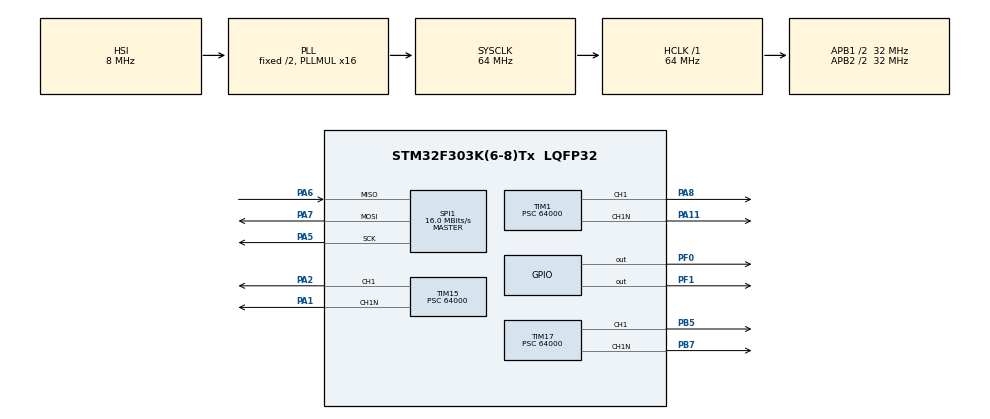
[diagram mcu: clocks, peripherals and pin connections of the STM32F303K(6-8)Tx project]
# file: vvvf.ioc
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Mcu.Family=STM32F3
PA6.Mode=Full_Duplex_Master
TIM17.Prescaler=64000
RCC.CortexFreq_Value=64000000
VP_TIM17_VS_ClockSourceINT.Mode=Enable_Timer
PA7.Mode=Full_Duplex_Master
SPI1.VirtualType=VM_MASTER
TIM17.Pulse=5000
TIM1.Pulse-PWM\ Generation1\ CH1\ CH1N=5000
RCC.SYSCLKSourceVirtual=RCC_SYSCLKSOURCE_PLLCLK
PA11.Mode=PWM Generation1 CH1 CH1N
TIM1.Channel-PWM\ Generation1\ CH1\ CH1N=TIM_CHANNEL_1
TIM15.DeadTime=13
RCC.APB1CLKDivider=RCC_HCLK_DIV2
ProjectManager.StackSize=0x400
TIM1.Prescaler=64000
SH.S_TIM1_CH1.0=TIM1_CH1,PWM Generation1 CH1 CH1N
ProjectManager.TargetToolchain=Makefile
TIM15.Prescaler=64000
SPI1.Direction=SPI_DIRECTION_2LINES
RCC.HCLKFreq_Value=64000000
RCC.APB2TimFreq_Value=64000000
SPI1.CalculateBaudRate=16.0 MBits/s
PF1\ /\ OSC_OUT.Signal=GPIO_Output
PA1.Signal=TIM15_CH1N
RCC.AHBFreq_Value=64000000
PA5.Signal=SPI1_SCK
RCC.HSE_VALUE=8000000
board=custom
TIM1.LockLevel=TIM_LOCKLEVEL_OFF
TIM17.Channel=TIM_CHANNEL_1
SH.S_TIM15_CH1.0=TIM15_CH1,PWM Generation1 CH1 CH1N
RCC.PLLMUL=RCC_PLL_MUL16
TIM15.Period=10000
TIM17.Period=10000
RCC.APB2Freq_Value=32000000
PA1.Mode=PWM Generation1 CH1 CH1N
TIM15.Pulse-PWM\ Generation1\ CH1\ CH1N=5000
PF0\ /\ OSC_IN.Signal=GPIO_Output
SPI1.Mode=SPI_MODE_MASTER
TIM1.DeadTime=13
PB7.Signal=TIM17_CH1N
PA8.Signal=S_TIM1_CH1
Mcu.Name=STM32F303K(6-8)Tx
PA2.Signal=S_TIM15_CH1
RCC.SYSCLKFreq_VALUE=64000000
Mcu.Package=LQFP32
PB5.Signal=S_TIM17_CH1
PA6.Signal=SPI1_MISO
PB7.Mode=PWM Generation1 CH1 CH1N
PA11.Signal=TIM1_CH1N
ProjectManager.HeapSize=0x200
RCC.HSI_VALUE=8000000
SH.S_TIM17_CH1.0=TIM17_CH1,PWM Generation1 CH1 CH1N
NVIC.PriorityGroup=NVIC_PRIORITYGROUP_4
RCC.APB2CLKDivider=RCC_HCLK_DIV2
RCC.APB1TimFreq_Value=64000000
TIM1.Period=10000
RCC.APB1Freq_Value=32000000
TIM15.Channel-PWM\ Generation1\ CH1\ CH1N=TIM_CHANNEL_1
PA5.Mode=Full_Duplex_Master
PA7.Signal=SPI1_MOSI
TIM17.DeadTime=13

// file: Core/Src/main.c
/* USER CODE BEGIN Header */
/**
  ******************************************************************************
  * @file           : main.c
  * @brief          : Main program body
  ******************************************************************************
  * @attention
  *
  * <h2><center>&copy; Copyright (c) 2021 STMicroelectronics.
  * All rights reserved.</center></h2>
  *
  * This software component is licensed by ST under BSD 3-Clause license,
  * the "License"; You may not use this file except in compliance with the
  * License. You may obtain a copy of the License at:
  *                        opensource.org/licenses/BSD-3-Clause
  *
  ******************************************************************************
  */
/* USER CODE END Header */
#include <stdbool.h>
#include "main.h"

#define GREEN_LED GPIO_PIN_0
#define RED_LED GPIO_PIN_1

SPI_HandleTypeDef hspi1;

TIM_HandleTypeDef htim1;
TIM_HandleTypeDef htim15;
TIM_HandleTypeDef htim17;

/* USER CODE BEGIN PV */
float hz_to_step(float fHz)
{
  return 64.0f * 1000.0f * 1000.0f / fHz / 2.0f;
}
/* USER CODE END PV */

void SystemClock_Config(void);
static void MX_GPIO_Init(void);
static void MX_TIM1_Init(void);
static void MX_TIM15_Init(void);
static void MX_TIM17_Init(void);
static void MX_SPI1_Init(void);

/* USER CODE BEGIN 0 */
// PWM設定のいろんな関数
void user_pwm_tim1(uint32_t prescale, uint32_t period, uint32_t pulse)
{
  htim1.Instance = TIM1;
  htim1.Init.Prescaler = prescale - 1;
  htim1.Init.CounterMode = TIM_COUNTERMODE_UP;
  htim1.Init.Period = period;
  htim1.Init.ClockDivision = TIM_CLOCKDIVISION_DIV1;
  htim1.Init.RepetitionCounter = 0;
  htim1.Init.AutoReloadPreload = TIM_AUTORELOAD_PRELOAD_DISABLE;
  HAL_TIM_PWM_Init(&htim1);

  TIM_OC_InitTypeDef sConfigOC = {0};
  sConfigOC.OCMode = TIM_OCMODE_PWM1;
  sConfigOC.Pulse = pulse;
  sConfigOC.OCPolarity = TIM_OCPOLARITY_HIGH;
  sConfigOC.OCNPolarity = TIM_OCNPOLARITY_HIGH;
  sConfigOC.OCFastMode = TIM_OCFAST_DISABLE;
  sConfigOC.OCIdleState = TIM_OCIDLESTATE_RESET;
  sConfigOC.OCNIdleState = TIM_OCNIDLESTATE_RESET;
  HAL_TIM_PWM_ConfigChannel(&htim1, &sConfigOC, TIM_CHANNEL_1);
}

void user_pwm_tim15(uint32_t prescale, uint32_t period, uint32_t pulse)
{
  htim15.Instance = TIM15;
  htim15.Init.Prescaler = prescale - 1;
  htim15.Init.CounterMode = TIM_COUNTERMODE_UP;
  htim15.Init.Period = period;
  htim15.Init.ClockDivision = TIM_CLOCKDIVISION_DIV1;
  htim15.Init.RepetitionCounter = 0;
  htim15.Init.AutoReloadPreload = TIM_AUTORELOAD_PRELOAD_DISABLE;
  HAL_TIM_PWM_Init(&htim15);

  TIM_OC_InitTypeDef sConfigOC = {0};
  sConfigOC.OCMode = TIM_OCMODE_PWM1;
  sConfigOC.Pulse = pulse;
  sConfigOC.OCPolarity = TIM_OCPOLARITY_HIGH;
  sConfigOC.OCNPolarity = TIM_OCNPOLARITY_HIGH;
  sConfigOC.OCFastMode = TIM_OCFAST_DISABLE;
  sConfigOC.OCIdleState = TIM_OCIDLESTATE_RESET;
  sConfigOC.OCNIdleState = TIM_OCNIDLESTATE_RESET;
  HAL_TIM_PWM_ConfigChannel(&htim15, &sConfigOC, TIM_CHANNEL_1);
}

void user_pwm_tim17(uint32_t prescale, uint32_t period, uint32_t pulse)
{
  htim17.Instance = TIM17;
  htim17.Init.Prescaler = prescale - 1;
  htim17.Init.CounterMode = TIM_COUNTERMODE_UP;
  htim17.Init.Period = period;
  htim17.Init.ClockDivision = TIM_CLOCKDIVISION_DIV1;
  htim17.Init.RepetitionCounter = 0;
  htim17.Init.AutoReloadPreload = TIM_AUTORELOAD_PRELOAD_DISABLE;
  HAL_TIM_PWM_Init(&htim17);

  TIM_OC_InitTypeDef sConfigOC = {0};
  sConfigOC.OCMode = TIM_OCMODE_PWM1;
  sConfigOC.Pulse = pulse;
  sConfigOC.OCPolarity = TIM_OCPOLARITY_HIGH;
  sConfigOC.OCNPolarity = TIM_OCNPOLARITY_HIGH;
  sConfigOC.OCFastMode = TIM_OCFAST_DISABLE;
  sConfigOC.OCIdleState = TIM_OCIDLESTATE_RESET;
  sConfigOC.OCNIdleState = TIM_OCNIDLESTATE_RESET;
  HAL_TIM_PWM_ConfigChannel(&htim17, &sConfigOC, TIM_CHANNEL_1);
}

void start_tim()
{
  HAL_TIM_Base_Start(&htim1);
  HAL_TIM_Base_Start(&htim15);
  HAL_TIM_Base_Start(&htim17);
}

void stop_tim()
{
  HAL_TIM_Base_Stop(&htim1);
  HAL_TIM_Base_Stop(&htim15);
  HAL_TIM_Base_Stop(&htim17);
}

void valid_pwm(bool is_valid)
{
  if(is_valid){
    HAL_TIM_PWM_Start(&htim1, TIM_CHANNEL_1);
    HAL_TIMEx_PWMN_Start(&htim1, TIM_CHANNEL_1);

    HAL_TIM_PWM_Start(&htim15, TIM_CHANNEL_1);
    HAL_TIMEx_PWMN_Start(&htim15, TIM_CHANNEL_1);

    HAL_TIM_PWM_Start(&htim17, TIM_CHANNEL_1);
    HAL_TIMEx_PWMN_Start(&htim17, TIM_CHANNEL_1);
  }else{
    HAL_TIM_PWM_Stop(&htim1, TIM_CHANNEL_1);
    HAL_TIMEx_PWMN_Stop(&htim1, TIM_CHANNEL_1);

    HAL_TIM_PWM_Stop(&htim15, TIM_CHANNEL_1);
    HAL_TIMEx_PWMN_Stop(&htim15, TIM_CHANNEL_1);

    HAL_TIM_PWM_Stop(&htim17, TIM_CHANNEL_1);
    HAL_TIMEx_PWMN_Stop(&htim17, TIM_CHANNEL_1);
  }
}

/* USER CODE END 0 */

int main(void)
{

  /* MCU Configuration--------------------------------------------------------*/

  /* Reset of all peripherals, Initializes the Flash interface and the Systick. */
  HAL_Init();

  /* Configure the system clock */
  SystemClock_Config();

  /* Initialize all configured peripherals */
  MX_GPIO_Init();
  MX_TIM1_Init();
  MX_TIM15_Init();
  MX_TIM17_Init();
  MX_SPI1_Init();
  /* USER CODE BEGIN 2 */
  // ペリフェラル周りの諸々はここに書く
  // TIM1のPWMを走らせる

  /* USER CODE END 2 */

  /* Infinite loop */
  /* USER CODE BEGIN WHILE */

  // timの設定
  stop_tim();
  const float f_kHz = 300.0f;
  float step_to_prescale = hz_to_step(2.0f*f_kHz*1000.0f);
  uint32_t my_prescale = (uint32_t)(step_to_prescale + 0.5f);

  uint32_t T = 1;
  user_pwm_tim1(my_prescale, 2*T, T);
  user_pwm_tim17(my_prescale, 2*T, T);
  __HAL_TIM_SET_COUNTER(&htim1, 0);
  __HAL_TIM_SET_COUNTER(&htim17, T);

  start_tim();
  valid_pwm(true);

  HAL_GPIO_WritePin(GPIOF, GPIO_PIN_0, GPIO_PIN_SET);
  HAL_GPIO_WritePin(GPIOF, GPIO_PIN_1, GPIO_PIN_SET);

  while (1)
  {
    /* USER CODE END WHILE */

    /* USER CODE BEGIN 3 */
    HAL_Delay(100);
    HAL_GPIO_TogglePin(GPIOF, GREEN_LED);

  }
  /* USER CODE END 3 */
}

void SystemClock_Config(void)
{
  RCC_OscInitTypeDef RCC_OscInitStruct = {0};
  RCC_ClkInitTypeDef RCC_ClkInitStruct = {0};
  RCC_PeriphCLKInitTypeDef PeriphClkInit = {0};

  /** Initializes the RCC Oscillators according to the specified parameters
  * in the RCC_OscInitTypeDef structure.
  */
  RCC_OscInitStruct.OscillatorType = RCC_OSCILLATORTYPE_HSI;
  RCC_OscInitStruct.HSIState = RCC_HSI_ON;
  RCC_OscInitStruct.HSICalibrationValue = RCC_HSICALIBRATION_DEFAULT;
  RCC_OscInitStruct.PLL.PLLState = RCC_PLL_ON;
  RCC_OscInitStruct.PLL.PLLSource = RCC_PLLSOURCE_HSI;
  RCC_OscInitStruct.PLL.PLLMUL = RCC_PLL_MUL16;
  if (HAL_RCC_OscConfig(&RCC_OscInitStruct) != HAL_OK)
  {
    Error_Handler();
  }
  /** Initializes the CPU, AHB and APB buses clocks
  */
  RCC_ClkInitStruct.ClockType = RCC_CLOCKTYPE_HCLK|RCC_CLOCKTYPE_SYSCLK
                              |RCC_CLOCKTYPE_PCLK1|RCC_CLOCKTYPE_PCLK2;
  RCC_ClkInitStruct.SYSCLKSource = RCC_SYSCLKSOURCE_PLLCLK;
  RCC_ClkInitStruct.AHBCLKDivider = RCC_SYSCLK_DIV1;
  RCC_ClkInitStruct.APB1CLKDivider = RCC_HCLK_DIV2;
  RCC_ClkInitStruct.APB2CLKDivider = RCC_HCLK_DIV2;

  if (HAL_RCC_ClockConfig(&RCC_ClkInitStruct, FLASH_LATENCY_2) != HAL_OK)
  {
    Error_Handler();
  }
  PeriphClkInit.PeriphClockSelection = RCC_PERIPHCLK_TIM1;
  PeriphClkInit.Tim1ClockSelection = RCC_TIM1CLK_HCLK;
  if (HAL_RCCEx_PeriphCLKConfig(&PeriphClkInit) != HAL_OK)
  {
    Error_Handler();
  }
}

static void MX_SPI1_Init(void)
{

  /* SPI1 parameter configuration*/
  hspi1.Instance = SPI1;
  hspi1.Init.Mode = SPI_MODE_MASTER;
  hspi1.Init.Direction = SPI_DIRECTION_2LINES;
  hspi1.Init.DataSize = SPI_DATASIZE_4BIT;
  hspi1.Init.CLKPolarity = SPI_POLARITY_LOW;
  hspi1.Init.CLKPhase = SPI_PHASE_1EDGE;
  hspi1.Init.NSS = SPI_NSS_SOFT;
  hspi1.Init.BaudRatePrescaler = SPI_BAUDRATEPRESCALER_2;
  hspi1.Init.FirstBit = SPI_FIRSTBIT_MSB;
  hspi1.Init.TIMode = SPI_TIMODE_DISABLE;
  hspi1.Init.CRCCalculation = SPI_CRCCALCULATION_DISABLE;
  hspi1.Init.CRCPolynomial = 7;
  hspi1.Init.CRCLength = SPI_CRC_LENGTH_DATASIZE;
  hspi1.Init.NSSPMode = SPI_NSS_PULSE_ENABLE;
  if (HAL_SPI_Init(&hspi1) != HAL_OK)
  {
    Error_Handler();
  }

}

static void MX_TIM1_Init(void)
{

  TIM_MasterConfigTypeDef sMasterConfig = {0};
  TIM_OC_InitTypeDef sConfigOC = {0};
  TIM_BreakDeadTimeConfigTypeDef sBreakDeadTimeConfig = {0};

  htim1.Instance = TIM1;
  htim1.Init.Prescaler = 1;
  htim1.Init.CounterMode = TIM_COUNTERMODE_UP;
  htim1.Init.Period = 10000;
  htim1.Init.ClockDivision = TIM_CLOCKDIVISION_DIV1;
  htim1.Init.RepetitionCounter = 0;
  htim1.Init.AutoReloadPreload = TIM_AUTORELOAD_PRELOAD_DISABLE;
  if (HAL_TIM_PWM_Init(&htim1) != HAL_OK)
  {
    Error_Handler();
  }
  sMasterConfig.MasterOutputTrigger = TIM_TRGO_RESET;
  sMasterConfig.MasterOutputTrigger2 = TIM_TRGO2_RESET;
  sMasterConfig.MasterSlaveMode = TIM_MASTERSLAVEMODE_DISABLE;
  if (HAL_TIMEx_MasterConfigSynchronization(&htim1, &sMasterConfig) != HAL_OK)
  {
    Error_Handler();
  }
  sConfigOC.OCMode = TIM_OCMODE_PWM1;
  sConfigOC.Pulse = 5000;
  sConfigOC.OCPolarity = TIM_OCPOLARITY_HIGH;
  sConfigOC.OCNPolarity = TIM_OCNPOLARITY_HIGH;
  sConfigOC.OCFastMode = TIM_OCFAST_DISABLE;
  sConfigOC.OCIdleState = TIM_OCIDLESTATE_RESET;
  sConfigOC.OCNIdleState = TIM_OCNIDLESTATE_RESET;
  if (HAL_TIM_PWM_ConfigChannel(&htim1, &sConfigOC, TIM_CHANNEL_1) != HAL_OK)
  {
    Error_Handler();
  }
  sBreakDeadTimeConfig.OffStateRunMode = TIM_OSSR_DISABLE;
  sBreakDeadTimeConfig.OffStateIDLEMode = TIM_OSSI_DISABLE;
  sBreakDeadTimeConfig.LockLevel = TIM_LOCKLEVEL_OFF;
  sBreakDeadTimeConfig.DeadTime = 13;
  sBreakDeadTimeConfig.BreakState = TIM_BREAK_DISABLE;
  sBreakDeadTimeConfig.BreakPolarity = TIM_BREAKPOLARITY_HIGH;
  sBreakDeadTimeConfig.BreakFilter = 0;
  sBreakDeadTimeConfig.Break2State = TIM_BREAK2_DISABLE;
  sBreakDeadTimeConfig.Break2Polarity = TIM_BREAK2POLARITY_HIGH;
  sBreakDeadTimeConfig.Break2Filter = 0;
  sBreakDeadTimeConfig.AutomaticOutput = TIM_AUTOMATICOUTPUT_DISABLE;
  if (HAL_TIMEx_ConfigBreakDeadTime(&htim1, &sBreakDeadTimeConfig) != HAL_OK)
  {
    Error_Handler();
  }
  HAL_TIM_MspPostInit(&htim1);

}

static void MX_TIM15_Init(void)
{

  TIM_MasterConfigTypeDef sMasterConfig = {0};
  TIM_OC_InitTypeDef sConfigOC = {0};
  TIM_BreakDeadTimeConfigTypeDef sBreakDeadTimeConfig = {0};

  htim15.Instance = TIM15;
  htim15.Init.Prescaler = 1;
  htim15.Init.CounterMode = TIM_COUNTERMODE_UP;
  htim15.Init.Period = 10000;
  htim15.Init.ClockDivision = TIM_CLOCKDIVISION_DIV1;
  htim15.Init.RepetitionCounter = 0;
  htim15.Init.AutoReloadPreload = TIM_AUTORELOAD_PRELOAD_DISABLE;
  if (HAL_TIM_PWM_Init(&htim15) != HAL_OK)
  {
    Error_Handler();
  }
  sMasterConfig.MasterOutputTrigger = TIM_TRGO_RESET;
  sMasterConfig.MasterSlaveMode = TIM_MASTERSLAVEMODE_DISABLE;
  if (HAL_TIMEx_MasterConfigSynchronization(&htim15, &sMasterConfig) != HAL_OK)
  {
    Error_Handler();
  }
  sConfigOC.OCMode = TIM_OCMODE_PWM1;
  sConfigOC.Pulse = 5000;
  sConfigOC.OCPolarity = TIM_OCPOLARITY_HIGH;
  sConfigOC.OCNPolarity = TIM_OCNPOLARITY_HIGH;
  sConfigOC.OCFastMode = TIM_OCFAST_DISABLE;
  sConfigOC.OCIdleState = TIM_OCIDLESTATE_RESET;
  sConfigOC.OCNIdleState = TIM_OCNIDLESTATE_RESET;
  if (HAL_TIM_PWM_ConfigChannel(&htim15, &sConfigOC, TIM_CHANNEL_1) != HAL_OK)
  {
    Error_Handler();
  }
  sBreakDeadTimeConfig.OffStateRunMode = TIM_OSSR_DISABLE;
  sBreakDeadTimeConfig.OffStateIDLEMode = TIM_OSSI_DISABLE;
  sBreakDeadTimeConfig.LockLevel = TIM_LOCKLEVEL_OFF;
  sBreakDeadTimeConfig.DeadTime = 13;
  sBreakDeadTimeConfig.BreakState = TIM_BREAK_DISABLE;
  sBreakDeadTimeConfig.BreakPolarity = TIM_BREAKPOLARITY_HIGH;
  sBreakDeadTimeConfig.BreakFilter = 0;
  sBreakDeadTimeConfig.AutomaticOutput = TIM_AUTOMATICOUTPUT_DISABLE;
  if (HAL_TIMEx_ConfigBreakDeadTime(&htim15, &sBreakDeadTimeConfig) != HAL_OK)
  {
    Error_Handler();
  }
  HAL_TIM_MspPostInit(&htim15);

}

static void MX_TIM17_Init(void)
{

  TIM_OC_InitTypeDef sConfigOC = {0};
  TIM_BreakDeadTimeConfigTypeDef sBreakDeadTimeConfig = {0};

  htim17.Instance = TIM17;
  htim17.Init.Prescaler = 1;
  htim17.Init.CounterMode = TIM_COUNTERMODE_UP;
  htim17.Init.Period = 10000;
  htim17.Init.ClockDivision = TIM_CLOCKDIVISION_DIV1;
  htim17.Init.RepetitionCounter = 0;
  htim17.Init.AutoReloadPreload = TIM_AUTORELOAD_PRELOAD_DISABLE;
  if (HAL_TIM_Base_Init(&htim17) != HAL_OK)
  {
    Error_Handler();
  }
  if (HAL_TIM_PWM_Init(&htim17) != HAL_OK)
  {
    Error_Handler();
  }
  sConfigOC.OCMode = TIM_OCMODE_PWM1;
  sConfigOC.Pulse = 5000;
  sConfigOC.OCPolarity = TIM_OCPOLARITY_HIGH;
  sConfigOC.OCNPolarity = TIM_OCNPOLARITY_HIGH;
  sConfigOC.OCFastMode = TIM_OCFAST_DISABLE;
  sConfigOC.OCIdleState = TIM_OCIDLESTATE_RESET;
  sConfigOC.OCNIdleState = TIM_OCNIDLESTATE_RESET;
  if (HAL_TIM_PWM_ConfigChannel(&htim17, &sConfigOC, TIM_CHANNEL_1) != HAL_OK)
  {
    Error_Handler();
  }
  sBreakDeadTimeConfig.OffStateRunMode = TIM_OSSR_DISABLE;
  sBreakDeadTimeConfig.OffStateIDLEMode = TIM_OSSI_DISABLE;
  sBreakDeadTimeConfig.LockLevel = TIM_LOCKLEVEL_OFF;
  sBreakDeadTimeConfig.DeadTime = 13;
  sBreakDeadTimeConfig.BreakState = TIM_BREAK_DISABLE;
  sBreakDeadTimeConfig.BreakPolarity = TIM_BREAKPOLARITY_HIGH;
  sBreakDeadTimeConfig.BreakFilter = 0;
  sBreakDeadTimeConfig.AutomaticOutput = TIM_AUTOMATICOUTPUT_DISABLE;
  if (HAL_TIMEx_ConfigBreakDeadTime(&htim17, &sBreakDeadTimeConfig) != HAL_OK)
  {
    Error_Handler();
  }
  HAL_TIM_MspPostInit(&htim17);

}

static void MX_GPIO_Init(void)
{
  GPIO_InitTypeDef GPIO_InitStruct = {0};

  /* GPIO Ports Clock Enable */
  __HAL_RCC_GPIOF_CLK_ENABLE();
  __HAL_RCC_GPIOA_CLK_ENABLE();
  __HAL_RCC_GPIOB_CLK_ENABLE();

  /*Configure GPIO pin Output Level */
  HAL_GPIO_WritePin(GPIOF, GPIO_PIN_0|GPIO_PIN_1, GPIO_PIN_RESET);

  /*Configure GPIO pins : PF0 PF1 */
  GPIO_InitStruct.Pin = GPIO_PIN_0|GPIO_PIN_1;
  GPIO_InitStruct.Mode = GPIO_MODE_OUTPUT_PP;
  GPIO_InitStruct.Pull = GPIO_NOPULL;
  GPIO_InitStruct.Speed = GPIO_SPEED_FREQ_LOW;
  HAL_GPIO_Init(GPIOF, &GPIO_InitStruct);

}

void Error_Handler(void)
{
  /* USER CODE BEGIN Error_Handler_Debug */
  /* User can add his own implementation to report the HAL error return state */
  HAL_GPIO_WritePin(GPIOF, GPIO_PIN_0, GPIO_PIN_SET);
  HAL_GPIO_WritePin(GPIOF, GPIO_PIN_1, GPIO_PIN_RESET);

  __disable_irq();
  while (1)
  {
  }
  /* USER CODE END Error_Handler_Debug */
}

/************************ (C) COPYRIGHT STMicroelectronics *****END OF FILE****/
